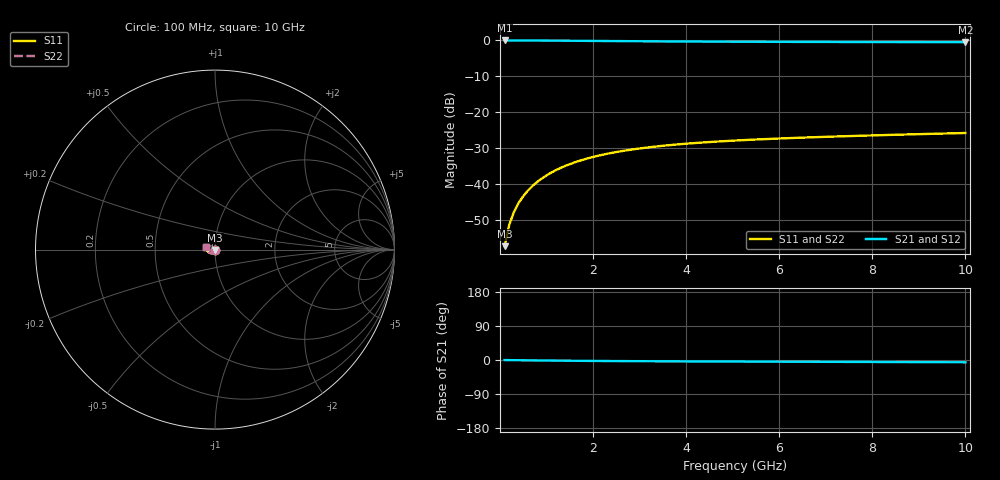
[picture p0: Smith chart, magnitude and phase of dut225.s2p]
! Touchstone file exported from HFSS 2024.1.0
!  File:  C:/UserFiles/LocalFiles/RDL_TSV_Batchsim/temp_TSV1_225_1779388093.aedt
!  Generated:  02:34:26 AM May 22, 2026
!  Design:  TSV1
!  Project:  temp_TSV1_225_1779388093
!  Setup:  Setup1
!  Solution:  Sweep
! Variables:
!  dtsv = 10.34um
!  hbump = 3um
!  htsv = 92.92um
!  lrdl = 252.1521522um
!  p = 40
!  p1 = 58.27um
!  t = 500um
!  trdl = 3um
!  wrdl = 24.89489489um
# GHz S MA R 50.000000
! Terminal data exported
! Port[1] = TSV22_T1
! Port[2] = TSV22_T2
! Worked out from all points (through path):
!   100 points, 100 MHz to 10 GHz, reference 50 ohm
!   highest |S21| = 0.00 dB at 100 MHz (marker M1); lowest = -0.5 dB at 10 GHz (marker M2)
!   lowest |S11| = -57.2 dB at 100 MHz (marker M3), VSWR 1.00, Z = 50 - j0.138 ohm
!   |S11| at or under -10 dB: start of sweep to end of sweep
!   |S22| runs from -57.2 to -25.7 dB; largest |S21 - S12| = 3e-15
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0.1  0.001388 -85.9  0.9998 -0.1  0.9998 -0.1  0.001388 -85.9
! Gamma 0 0 0 0
! Port Impedance 50 0 50 0
0.2  0.002764 -90.9  0.9996 -0.3  0.9996 -0.3  0.002764 -90.9
0.3  0.00414 -93.9  0.9994 -0.4  0.9994 -0.4  0.00414 -93.9
0.4  0.005509 -96.4  0.999 -0.6  0.999 -0.6  0.005509 -96.4
0.5  0.006867 -98.7  0.9986 -0.7  0.9986 -0.7  0.006867 -98.7
0.6  0.008209 -100.9  0.998 -0.9  0.998 -0.9  0.008209 -100.9
0.7  0.009532 -103.1  0.9974 -1.0  0.9974 -1.0  0.009532 -103.1
0.8  0.01083 -105.2  0.9967 -1.1  0.9967 -1.1  0.01083 -105.2
0.9  0.01211 -107.2  0.996 -1.3  0.996 -1.3  0.01211 -107.2
1.1  0.01457 -111.2  0.9943 -1.5  0.9943 -1.5  0.01457 -111.2
1.4  0.01804 -116.9  0.9915 -1.9  0.9915 -1.9  0.01804 -116.9
1.6  0.02018 -120.5  0.9894 -2.1  0.9894 -2.1  0.02018 -120.5
1.8  0.02219 -123.9  0.9873 -2.3  0.9873 -2.3  0.02219 -123.9
2.1  0.02495 -128.8  0.9841 -2.5  0.9841 -2.5  0.02495 -128.8
2.5  0.02818 -134.9  0.9799 -2.8  0.9799 -2.8  0.02818 -134.9
2.9  0.03096 -140.4  0.9759 -3.1  0.9759 -3.1  0.03096 -140.4
3.4  0.03389 -146.6  0.9714 -3.4  0.9714 -3.4  0.03389 -146.6
4.2  0.03762 -155.2  0.9654 -3.7  0.9654 -3.7  0.03762 -155.2
5.1  0.04085 -163.5  0.9602 -4.1  0.9602 -4.1  0.04085 -163.5
6.7  0.04516 -175.4  0.9537 -4.7  0.9537 -4.7  0.04516 -175.4
8.4  0.04877 174.4  0.9493 -5.4  0.9493 -5.4  0.04877 174.4
10  0.05182 166.4  0.9464 -6.0  0.9464 -6.0  0.05182 166.4
